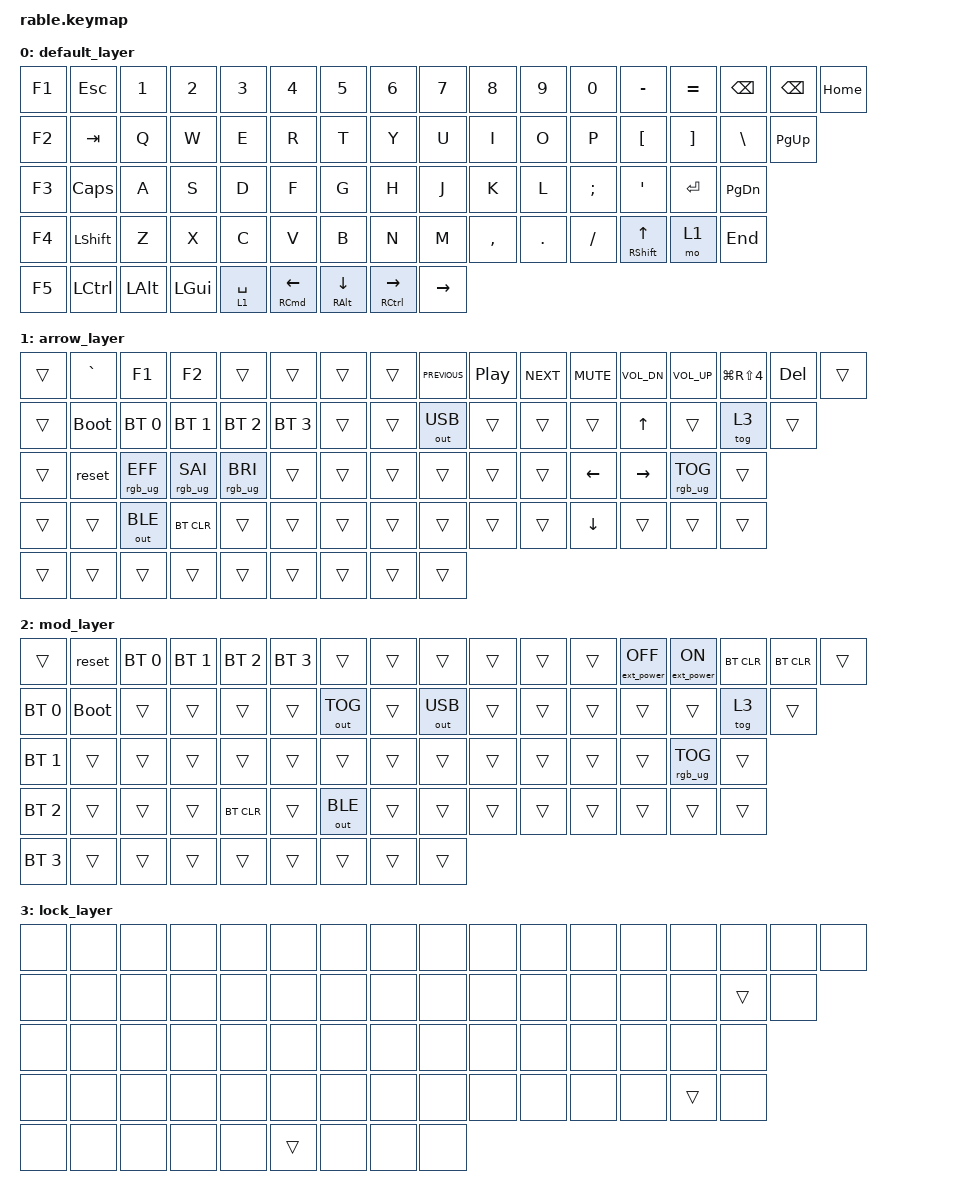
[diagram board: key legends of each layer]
/*
 * Copyright (c) 2021 Nick Winans
 *
 * SPDX-License-Identifier: MIT
 */

#include <behaviors.dtsi>
#include <dt-bindings/zmk/bt.h>
#include <dt-bindings/zmk/ext_power.h>
#include <dt-bindings/zmk/keys.h>
#include <dt-bindings/zmk/outputs.h>
#include <dt-bindings/zmk/rgb.h>

/ {
    keymap {
        compatible = "zmk,keymap";

        default_layer {
            bindings = <
&kp F1  &kp ESCAPE  &kp N1    &kp N2    &kp N3       &kp N4               &kp N5                    &kp N6                         &kp N7     &kp N8     &kp N9   &kp N0    &kp MINUS                 &kp EQUAL  &kp BACKSPACE  &kp BACKSPACE  &kp HOME
&kp F2  &kp TAB     &kp Q     &kp W     &kp E        &kp R                &kp T                     &kp Y                          &kp U      &kp I      &kp O    &kp P     &kp LBKT                  &kp RBKT   &kp BACKSLASH  &kp PG_UP
&kp F3  &kp CLCK    &kp A     &kp S     &kp D        &kp F                &kp G                     &kp H                          &kp J      &kp K      &kp L    &kp SEMI  &kp SQT                   &kp RET    &kp PG_DN
&kp F4  &kp LSHFT   &kp Z     &kp X     &kp C        &kp V                &kp B                     &kp N                          &kp M      &kp COMMA  &kp DOT  &kp FSLH  &mt RIGHT_SHIFT UP_ARROW  &mo 1      &kp END
&kp F5  &kp LCTRL   &kp LALT  &kp LGUI  &lt 1 SPACE  &mt RCMD LEFT_ARROW  &mt RIGHT_ALT DOWN_ARROW  &mt RIGHT_CONTROL RIGHT_ARROW  &kp RIGHT
            >;
        };

        arrow_layer {
            bindings = <
&trans  &kp GRAVE    &kp F1           &kp F2           &trans           &trans        &trans  &trans  &kp C_PREVIOUS  &kp C_PLAY_PAUSE  &kp C_NEXT  &kp K_MUTE      &kp C_VOL_DN     &kp C_VOL_UP     &kp LG(RS(NUMBER_4))  &kp DELETE  &trans
&trans  &bootloader  &bt BT_SEL 0     &bt BT_SEL 1     &bt BT_SEL 2     &bt BT_SEL 3  &trans  &trans  &out OUT_USB    &trans            &trans      &trans          &kp UP_ARROW     &trans           &tog 3                &trans
&trans  &reset       &rgb_ug RGB_EFF  &rgb_ug RGB_SAI  &rgb_ug RGB_BRI  &trans        &trans  &trans  &trans          &trans            &trans      &kp LEFT_ARROW  &kp RIGHT_ARROW  &rgb_ug RGB_TOG  &trans
&trans  &trans       &out OUT_BLE     &bt BT_CLR       &trans           &trans        &trans  &trans  &trans          &trans            &trans      &kp DOWN        &trans           &trans           &trans
&trans  &trans       &trans           &trans           &trans           &trans        &trans  &trans  &trans
            >;
        };

        mod_layer {
            bindings = <
&trans        &reset       &bt BT_SEL 0  &bt BT_SEL 1  &bt BT_SEL 2  &bt BT_SEL 3  &trans        &trans  &trans        &trans  &trans  &trans  &ext_power EP_OFF  &ext_power EP_ON  &bt BT_CLR  &bt BT_CLR  &trans
&bt BT_SEL 0  &bootloader  &trans        &trans        &trans        &trans        &out OUT_TOG  &trans  &out OUT_USB  &trans  &trans  &trans  &trans             &trans            &tog 3      &trans
&bt BT_SEL 1  &trans       &trans        &trans        &trans        &trans        &trans        &trans  &trans        &trans  &trans  &trans  &trans             &rgb_ug RGB_TOG   &trans
&bt BT_SEL 2  &trans       &trans        &trans        &bt BT_CLR    &trans        &out OUT_BLE  &trans  &trans        &trans  &trans  &trans  &trans             &trans            &trans
&bt BT_SEL 3  &trans       &trans        &trans        &trans        &trans        &trans        &trans  &trans
            >;
        };

        lock_layer {
            bindings = <
&none  &none  &none  &none  &none  &none   &none  &none  &none  &none  &none  &none  &none  &none   &none   &none  &none
&none  &none  &none  &none  &none  &none   &none  &none  &none  &none  &none  &none  &none  &none   &trans  &none
&none  &none  &none  &none  &none  &none   &none  &none  &none  &none  &none  &none  &none  &none   &none
&none  &none  &none  &none  &none  &none   &none  &none  &none  &none  &none  &none  &none  &trans  &none
&none  &none  &none  &none  &none  &trans  &none  &none  &none
            >;
        };
    };
};
